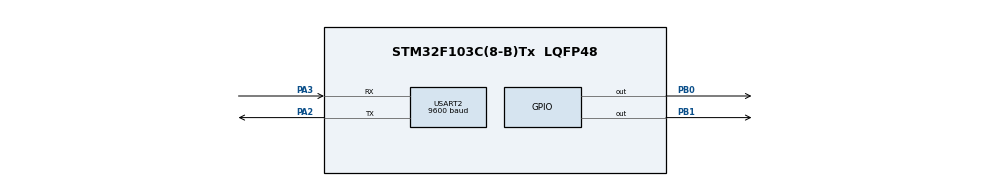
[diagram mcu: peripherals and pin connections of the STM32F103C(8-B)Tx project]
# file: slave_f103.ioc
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Mcu.Family=STM32F1
Mcu.Name=STM32F103C(8-B)Tx
Mcu.Package=LQFP48
NVIC.PriorityGroup=NVIC_PRIORITYGROUP_4
NVIC.USART2_IRQn=true\:0\:0\:false\:false\:true\:true\:true\:true
PA13.Mode=Serial_Wire
PA13.Signal=SYS_JTMS-SWDIO
PA14.Mode=Serial_Wire
PA14.Signal=SYS_JTCK-SWCLK
PA2.Mode=Asynchronous
PA2.Signal=USART2_TX
PA3.Mode=Asynchronous
PA3.Signal=USART2_RX
PB0.Signal=GPIO_Output
PB1.Signal=GPIO_Output
ProjectManager.HeapSize=0x200
ProjectManager.StackSize=0x400
ProjectManager.TargetToolchain=MDK-ARM V5.32
RCC.APB1Freq_Value=8000000
RCC.APB2Freq_Value=8000000
USART2.BaudRate=9600
USART2.VirtualMode=VM_ASYNC
board=custom

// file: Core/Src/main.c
/* USER CODE BEGIN Header */
/**
  ******************************************************************************
  * @file           : main.c
  * @brief          : Main program body
  ******************************************************************************
  * @attention
  *
  * Copyright (c) 2024 STMicroelectronics.
  * All rights reserved.
  *
  * This software is licensed under terms that can be found in the LICENSE file
  * in the root directory of this software component.
  * If no LICENSE file comes with this software, it is provided AS-IS.
  *
  ******************************************************************************
  */
/* USER CODE END Header */
#include "main.h"

UART_HandleTypeDef huart2;

/* USER CODE BEGIN PV */
uint8_t BUFF_2_R[256];
uint8_t RX[256];
uint8_t slaveAddress = 5;
uint8_t startAddress;
// gia tri thanh ghi
uint16_t registerValues[]={0X0000, 0XC0C1, 0XC181, 0X0140, 0XC301, 0X03C0, 0X0280, 0XC241,
													 0XC601, 0X06C0, 0X0780, 0XC741, 0X0500, 0XC5C1, 0XC481, 0X0440,
													 0XCC01, 0X0CC0, 0X0D80, 0XCD41, 0X0F00, 0XCFC1, 0XCE81, 0X0E40,
													 0X0A00, 0XCAC1, 0XCB81, 0X0B40, 0XC901, 0X09C0, 0X0880, 0XC841,
													 0XD801, 0X18C0, 0X1980, 0XD941, 0X1B00, 0XDBC1, 0XDA81, 0X1A40,
													 0X1E00, 0XDEC1, 0XDF81, 0X1F40, 0XDD01, 0X1DC0, 0X1C80, 0XDC41,
													 0X1400, 0XD4C1, 0XD581, 0X1540, 0XD701, 0X17C0, 0X1680, 0XD641,
													 0XD201, 0X12C0, 0X1380, 0XD341, 0X1100, 0XD1C1, 0XD081, 0X1040,
													 0XF001, 0X30C0, 0X3180, 0XF141, 0X3300, 0XF3C1, 0XF281, 0X3240,
													 0X3600, 0XF6C1, 0XF781, 0X3740, 0XF501, 0X35C0, 0X3480, 0XF441,
													 0X3C00, 0XFCC1, 0XFD81, 0X3D40, 0XFF01, 0X3FC0, 0X3E80, 0XFE41,
													 0XFA01, 0X3AC0, 0X3B80, 0XFB41, 0X3900, 0XF9C1, 0XF881, 0X3840,
													 0X2800, 0XE8C1, 0XE981, 0X2940, 0XEB01, 0X2BC0, 0X2A80, 0XEA41,
													 0XEE01, 0X2EC0, 0X2F80, 0XEF41, 0X2D00, 0XEDC1, 0XEC81, 0X2C40,
													 0XE401, 0X24C0, 0X2580, 0XE541, 0X2700, 0XE7C1, 0XE681, 0X2640,
													 0X2200, 0XE2C1, 0XE381, 0X2340, 0XE101, 0X21C0, 0X2080, 0XE041,
													 0XA001, 0X60C0, 0X6180, 0XA141, 0X6300, 0XA3C1, 0XA281, 0X6240,
													 0X6600, 0XA6C1, 0XA781, 0X6740, 0XA501, 0X65C0, 0X6480, 0XA441,
													 0X6C00, 0XACC1, 0XAD81, 0X6D40, 0XAF01, 0X6FC0, 0X6E80, 0XAE41,
													 0XAA01, 0X6AC0, 0X6B80, 0XAB41, 0X6900, 0XA9C1, 0XA881, 0X6840,
													 0X7800, 0XB8C1, 0XB981, 0X7940, 0XBB01, 0X7BC0, 0X7A80, 0XBA41,
													 0XBE01, 0X7EC0, 0X7F80, 0XBF41, 0X7D00, 0XBDC1, 0XBC81, 0X7C40,
													 0XB401, 0X74C0, 0X7580, 0XB541, 0X7700, 0XB7C1, 0XB681, 0X7640,
													 0X7200, 0XB2C1, 0XB381, 0X7340, 0XB101, 0X71C0, 0X7080, 0XB041,
													 0X5000, 0X90C1, 0X9181, 0X5140, 0X9301, 0X53C0, 0X5280, 0X9241,
													 0X9601, 0X56C0, 0X5780, 0X9741, 0X5500, 0X95C1, 0X9481, 0X5440,
													 0X9C01, 0X5CC0, 0X5D80, 0X9D41, 0X5F00, 0X9FC1, 0X9E81, 0X5E40,
													 0X5A00, 0X9AC1, 0X9B81, 0X5B40, 0X9901, 0X59C0, 0X5880, 0X9841,
													 0X8801, 0X48C0, 0X4980, 0X8941, 0X4B00, 0X8BC1, 0X8A81, 0X4A40,
													 0X4E00, 0X8EC1, 0X8F81, 0X4F40, 0X8D01, 0X4DC0, 0X4C80, 0X8C41,
													 0X4400, 0X84C1, 0X8581, 0X4540, 0X8701, 0X47C0, 0X4680, 0X8641,
													 0X8201, 0X42C0, 0X4380, 0X8341, 0X4100, 0X81C1, 0X8081, 0X4040
													 };   // cac thanh ghi vi du de test
uint8_t numbyte;//so luong byte cua frame gui di
/* USER CODE END PV */

void SystemClock_Config(void);
static void MX_GPIO_Init(void);
static void MX_USART2_UART_Init(void);

int main(void)
{

  /* MCU Configuration--------------------------------------------------------*/

  /* Reset of all peripherals, Initializes the Flash interface and the Systick. */
  HAL_Init();

  /* Configure the system clock */
  SystemClock_Config();

  /* Initialize all configured peripherals */
  MX_GPIO_Init();
  MX_USART2_UART_Init();
  /* USER CODE BEGIN 2 */
	HAL_GPIO_WritePin(GPIOB, GPIO_PIN_0, 1);
	HAL_GPIO_WritePin(GPIOB, GPIO_PIN_1, 1);

	HAL_UARTEx_ReceiveToIdle_IT(&huart2,BUFF_2_R,256);

  /* USER CODE END 2 */

  /* Infinite loop */
  while (1)
  {

  }
}

void SystemClock_Config(void)
{
  RCC_OscInitTypeDef RCC_OscInitStruct = {0};
  RCC_ClkInitTypeDef RCC_ClkInitStruct = {0};

  /** Initializes the RCC Oscillators according to the specified parameters
  * in the RCC_OscInitTypeDef structure.
  */
  RCC_OscInitStruct.OscillatorType = RCC_OSCILLATORTYPE_HSI;
  RCC_OscInitStruct.HSIState = RCC_HSI_ON;
  RCC_OscInitStruct.HSICalibrationValue = RCC_HSICALIBRATION_DEFAULT;
  RCC_OscInitStruct.PLL.PLLState = RCC_PLL_NONE;
  if (HAL_RCC_OscConfig(&RCC_OscInitStruct) != HAL_OK)
  {
    Error_Handler();
  }

  /** Initializes the CPU, AHB and APB buses clocks
  */
  RCC_ClkInitStruct.ClockType = RCC_CLOCKTYPE_HCLK|RCC_CLOCKTYPE_SYSCLK
                              |RCC_CLOCKTYPE_PCLK1|RCC_CLOCKTYPE_PCLK2;
  RCC_ClkInitStruct.SYSCLKSource = RCC_SYSCLKSOURCE_HSI;
  RCC_ClkInitStruct.AHBCLKDivider = RCC_SYSCLK_DIV1;
  RCC_ClkInitStruct.APB1CLKDivider = RCC_HCLK_DIV1;
  RCC_ClkInitStruct.APB2CLKDivider = RCC_HCLK_DIV1;

  if (HAL_RCC_ClockConfig(&RCC_ClkInitStruct, FLASH_LATENCY_0) != HAL_OK)
  {
    Error_Handler();
  }
}

static void MX_USART2_UART_Init(void)
{

  huart2.Instance = USART2;
  huart2.Init.BaudRate = 9600;
  huart2.Init.WordLength = UART_WORDLENGTH_8B;
  huart2.Init.StopBits = UART_STOPBITS_1;
  huart2.Init.Parity = UART_PARITY_NONE;
  huart2.Init.Mode = UART_MODE_TX_RX;
  huart2.Init.HwFlowCtl = UART_HWCONTROL_NONE;
  huart2.Init.OverSampling = UART_OVERSAMPLING_16;
  if (HAL_UART_Init(&huart2) != HAL_OK)
  {
    Error_Handler();
  }

}

static void MX_GPIO_Init(void)
{
  GPIO_InitTypeDef GPIO_InitStruct = {0};

  /* GPIO Ports Clock Enable */
  __HAL_RCC_GPIOA_CLK_ENABLE();
  __HAL_RCC_GPIOB_CLK_ENABLE();

  /*Configure GPIO pin Output Level */
  HAL_GPIO_WritePin(GPIOB, GPIO_PIN_0|GPIO_PIN_1, GPIO_PIN_RESET);

  /*Configure GPIO pins : PB0 PB1 */
  GPIO_InitStruct.Pin = GPIO_PIN_0|GPIO_PIN_1;
  GPIO_InitStruct.Mode = GPIO_MODE_OUTPUT_PP;
  GPIO_InitStruct.Pull = GPIO_NOPULL;
  GPIO_InitStruct.Speed = GPIO_SPEED_FREQ_LOW;
  HAL_GPIO_Init(GPIOB, &GPIO_InitStruct);

}

/* USER CODE BEGIN 4 */
uint16_t CRC16_Check_B(uint8_t Num,uint8_t frame[]) //Ham CRC 16
{
    uint8_t x,y,i;
		uint16_t Crc; //Bien Cuc Bo

    Crc=0xFFFF; //Init

    for(x=0;x<Num;++x) //Lap Vong
    {
       y=frame[x]; //Lay Byte Trong Bo Dem CRC 16
       Crc=Crc^y; //Calculate the CRC

       for(i=8;i!=0;--i) //Shift Right
       {
          if((Crc&0x0001)!=0) //If the LSB is set
          {
             Crc>>=1; //Shift right and XOR 0xA001
             Crc^=0xA001;
          }
          else //Else LSB is not set
          {
             Crc>>=1; //Just shift right
          }
       }
    }
    //Swapping of the high and low CRC bytes
    return Crc; //Tra Ve CRC_16 Tinh Duoc
}
void HAL_UARTEx_RxEventCallback(UART_HandleTypeDef *huart, uint16_t Size){
	//if(huart==&huart2){
	if(huart->Instance == USART2){
		if(slaveAddress==BUFF_2_R[0]){
			if(BUFF_2_R[1]==3){								// Read Holding Registers (FC=03H)
				uint8_t BUFF_2_T[((BUFF_2_R[4]<<8)|BUFF_2_R[5])*2];
				startAddress=(BUFF_2_R[2]<<8)|BUFF_2_R[3];							// dia chi bat dau doc
				numbyte=BUFF_2_R[5]*2+5;							// so luong byte truyen di
				uint8_t frame[numbyte];
				uint16_t tinh_crc=CRC16_Check_B(6,BUFF_2_R);
				uint16_t crc=(uint16_t)(BUFF_2_R[7]<<8)|BUFF_2_R[6];
				if(tinh_crc==crc){
						uint8_t cnt=startAddress;
						for(int i=0;i<(BUFF_2_R[5]*2);i=i+2){
								BUFF_2_T[i]=(uint8_t)((registerValues[cnt]>>8)&0xFF);
								BUFF_2_T[i+1]=(uint8_t)(registerValues[cnt]&0xFF);
								cnt++;
						}
						frame[0] = slaveAddress;
						frame[1] = BUFF_2_R[1];
						frame[2] = ((BUFF_2_R[4]<<8)|BUFF_2_R[5])*2;

						for(int i=3;i<numbyte-2;i++){
								frame[i]=BUFF_2_T[i-3];
						}

						uint16_t check=CRC16_Check_B(numbyte-2,frame);
						frame[numbyte-2] = (uint8_t)(check&0xFF);
						frame[numbyte-1] = (uint8_t)((check>>8)&0xFF);
						HAL_UART_Transmit(&huart2, frame, numbyte, HAL_MAX_DELAY);
				}
			}
			if(BUFF_2_R[1]==16){							// Preset Multiple Registers (FC = 10H)
				numbyte=8;							// so luong byte truyen di
				uint8_t frame[numbyte];
				uint8_t num = (BUFF_2_R[4]<<8)|BUFF_2_R[5];
				uint16_t len=num*2+9;	// so byte du lieu
				uint16_t tinh_crc=CRC16_Check_B(len-2,BUFF_2_R);
				uint16_t crc=(uint16_t)((BUFF_2_R[len-1]<<8)|BUFF_2_R[len-2]);
				if(tinh_crc==crc){			// kiem tra CRC
					frame[0] = slaveAddress;
					frame[1] = (uint8_t) (BUFF_2_R[1]);
					frame[2] = (uint8_t) (BUFF_2_R[2]);
					frame[3] = (uint8_t) (BUFF_2_R[3]);
					frame[4] = (uint8_t) (BUFF_2_R[4]);
					frame[5] = (uint8_t) (BUFF_2_R[5]);

					uint16_t check=CRC16_Check_B(numbyte-2,frame);  // tinh CRC cho du lieu truyen di
					frame[numbyte-2] = (uint8_t)(check&0xFF);
					frame[numbyte-1] = (uint8_t)((check>>8)&0xFF);
					HAL_UART_Transmit(&huart2, frame, numbyte, HAL_MAX_DELAY);
					// bat tat led theo du lieu thanh ghi
					if(((BUFF_2_R[7]<<8)|BUFF_2_R[8])==0){
							HAL_GPIO_WritePin(GPIOB, GPIO_PIN_0, 0);
					}
					if(((BUFF_2_R[7]<<8)|BUFF_2_R[8])==1){
							HAL_GPIO_WritePin(GPIOB, GPIO_PIN_0, 1);
					}
					if(((BUFF_2_R[7]<<8)|BUFF_2_R[8])==2){
							HAL_GPIO_WritePin(GPIOB, GPIO_PIN_1, 0);
					}
					if(((BUFF_2_R[7]<<8)|BUFF_2_R[8])==3){
							HAL_GPIO_WritePin(GPIOB, GPIO_PIN_1, 1);
					}
				}
			}
		}
		HAL_UARTEx_ReceiveToIdle_IT(&huart2, BUFF_2_R, 256);
	}
}
/* USER CODE END 4 */

void Error_Handler(void)
{
  __disable_irq();
  while (1)
  {
  }
}
